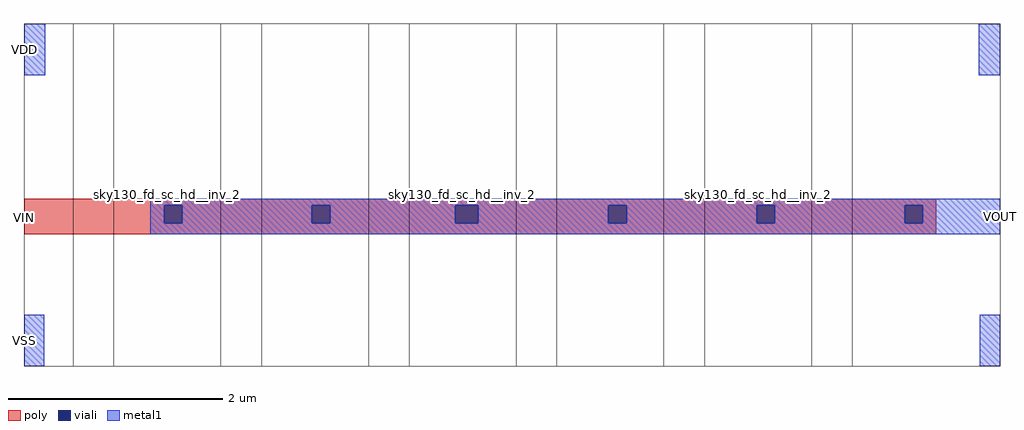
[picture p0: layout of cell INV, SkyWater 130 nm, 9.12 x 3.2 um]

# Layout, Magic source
magic
tech sky130A
magscale 1 2
<< poly >>
rect -76 199 1629 265
<< viali >>
rect 186 219 220 253
rect 462 219 496 253
rect 730 219 773 253
rect 1016 219 1050 253
rect 1293 219 1327 253
rect 1570 219 1604 253
<< metal1 >>
rect -76 496 -36 592
rect 1708 496 1748 592
rect 160 253 1748 265
rect 160 219 186 253
rect 220 219 462 253
rect 496 219 730 253
rect 773 219 1016 253
rect 1050 219 1293 253
rect 1327 219 1570 253
rect 1604 219 1748 253
rect 160 199 1748 219
rect -76 -48 -38 48
rect 1710 -48 1748 48
use sky130_fd_sc_hd__inv_2  sky130_fd_sc_hd__inv_2_0 $PDKPATH/libs.ref/sky130_fd_sc_hd/mag
transform 1 0 54 0 1 0
box -38 -48 314 592
use sky130_fd_sc_hd__inv_2  sky130_fd_sc_hd__inv_2_1
transform 1 0 330 0 1 0
box -38 -48 314 592
use sky130_fd_sc_hd__inv_2  sky130_fd_sc_hd__inv_2_2
transform 1 0 606 0 1 0
box -38 -48 314 592
use sky130_fd_sc_hd__inv_2  sky130_fd_sc_hd__inv_2_3
transform 1 0 882 0 1 0
box -38 -48 314 592
use sky130_fd_sc_hd__inv_2  sky130_fd_sc_hd__inv_2_4
transform 1 0 1158 0 1 0
box -38 -48 314 592
use sky130_fd_sc_hd__inv_2  sky130_fd_sc_hd__inv_2_5
transform 1 0 1434 0 1 0
box -38 -48 314 592
use sky130_fd_sc_hd__tapvpwrvgnd_1  sky130_fd_sc_hd__tapvpwrvgnd_1_0 $PDKPATH/libs.ref/sky130_fd_sc_hd/mag
transform 1 0 -38 0 1 0
box -38 -48 130 592
<< labels >>
rlabel poly -76 230 -76 230 7 VIN
port 1 w
rlabel metal1 1748 232 1748 232 3 VOUT
port 2 e
rlabel metal1 -76 0 -76 0 7 VSS
port 3 w
rlabel metal1 -76 544 -76 544 7 VDD
port 4 w
<< end >>
